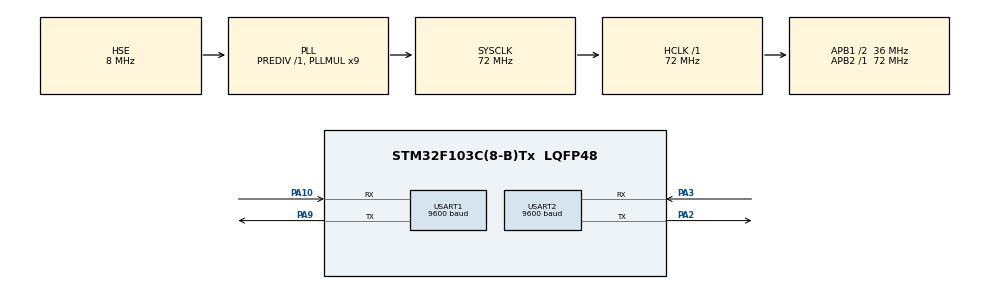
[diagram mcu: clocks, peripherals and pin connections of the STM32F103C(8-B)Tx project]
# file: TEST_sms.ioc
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Mcu.Family=STM32F1
Mcu.Name=STM32F103C(8-B)Tx
Mcu.Package=LQFP48
NVIC.PriorityGroup=NVIC_PRIORITYGROUP_4
NVIC.USART1_IRQn=true\:0\:0\:false\:false\:true\:true\:true
PA10.Mode=Asynchronous
PA10.Signal=USART1_RX
PA13.Mode=Trace_Asynchronous_SW
PA13.Signal=SYS_JTMS-SWDIO
PA14.Mode=Trace_Asynchronous_SW
PA14.Signal=SYS_JTCK-SWCLK
PA2.Mode=Asynchronous
PA2.Signal=USART2_TX
PA3.Mode=Asynchronous
PA3.Signal=USART2_RX
PA9.Mode=Asynchronous
PA9.Signal=USART1_TX
PB3.Mode=Trace_Asynchronous_SW
PB3.Signal=SYS_JTDO-TRACESWO
PC14-OSC32_IN.Mode=LSE-External-Oscillator
PC14-OSC32_IN.Signal=RCC_OSC32_IN
PC15-OSC32_OUT.Mode=LSE-External-Oscillator
PC15-OSC32_OUT.Signal=RCC_OSC32_OUT
PD0-OSC_IN.Mode=HSE-External-Oscillator
PD0-OSC_IN.Signal=RCC_OSC_IN
PD1-OSC_OUT.Mode=HSE-External-Oscillator
PD1-OSC_OUT.Signal=RCC_OSC_OUT
ProjectManager.HeapSize=0x200
ProjectManager.StackSize=0x400
ProjectManager.TargetToolchain=STM32CubeIDE
RCC.AHBFreq_Value=72000000
RCC.APB1CLKDivider=RCC_HCLK_DIV2
RCC.APB1Freq_Value=36000000
RCC.APB1TimFreq_Value=72000000
RCC.APB2Freq_Value=72000000
RCC.APB2TimFreq_Value=72000000
RCC.HCLKFreq_Value=72000000
RCC.PLLMUL=RCC_PLL_MUL9
RCC.PLLSourceVirtual=RCC_PLLSOURCE_HSE
RCC.SYSCLKFreq_VALUE=72000000
RCC.SYSCLKSource=RCC_SYSCLKSOURCE_PLLCLK
RCC.USBFreq_Value=72000000
USART1.BaudRate=9600
USART1.VirtualMode=VM_ASYNC
USART2.BaudRate=9600
USART2.VirtualMode=VM_ASYNC
board=custom

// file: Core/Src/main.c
/* USER CODE BEGIN Header */
/**
  ******************************************************************************
  * @file           : main.c
  * @brief          : Main program body
  ******************************************************************************
  * @attention
  *
  * Copyright (c) 2022 STMicroelectronics.
  * All rights reserved.
  *
  * This software is licensed under terms that can be found in the LICENSE file
  * in the root directory of this software component.
  * If no LICENSE file comes with this software, it is provided AS-IS.
  *
  ******************************************************************************
  */
/* USER CODE END Header */
#include "main.h"

/* USER CODE BEGIN Includes */
#include <string.h>
#include <stdio.h>
/* USER CODE END Includes */

UART_HandleTypeDef huart1;
UART_HandleTypeDef huart2;

void SystemClock_Config(void);
static void MX_GPIO_Init(void);
static void MX_USART1_UART_Init(void);
static void MX_USART2_UART_Init(void);
/* USER CODE BEGIN PFP */
/*-----------------------For printf------------------------*/
int _write(int file, char *ptr, int len) {
	int i;
	HAL_UART_Transmit(&huart2, (uint8_t*) ptr, len, 50);
	for (i = 0; i < len; i++) {
		ITM_SendChar(*ptr++);
	}
	return len;
}
/* USER CODE END PFP */

/* USER CODE BEGIN 0 */
uint8_t buf[30] = {0};
char mobile[] = "+7XXXXXXXXXXXX";  // Enter Your Mobile Number here
/* USER CODE END 0 */

int main(void)
{
  /* USER CODE BEGIN 1 */
	char msg[30];
	char cmd[50];
  /* USER CODE END 1 */

  /* MCU Configuration--------------------------------------------------------*/

  /* Reset of all peripherals, Initializes the Flash interface and the Systick. */
  HAL_Init();

  /* Configure the system clock */
  SystemClock_Config();

  /* Initialize all configured peripherals */
  MX_GPIO_Init();
  MX_USART1_UART_Init();
  MX_USART2_UART_Init();
  /* USER CODE BEGIN 2 */

	sprintf(msg,"SMS with GSM Module\r\n");
	HAL_UART_Transmit(&huart2,(uint8_t *)msg,strlen(msg),1000);
	sprintf(msg,"Checking Module...\r\n");
	HAL_UART_Transmit(&huart2,(uint8_t *)msg,strlen(msg),1000);
	uint8_t flag=1;

	while(flag){
		sprintf(cmd,"AT\r\n");
		HAL_UART_Transmit(&huart1,(uint8_t *)cmd,strlen(cmd),1000);
		HAL_UART_Receive_IT (&huart1, buf, 30);
		HAL_Delay(1000);

		if(strstr((char *)buf,"OK")){
			sprintf(msg,"Module Connected\r\n");
			HAL_UART_Transmit(&huart2,(uint8_t *)msg,strlen(msg),1000);
			flag=0;
		}
		HAL_Delay(1000);
		HAL_UART_Transmit(&huart2,(uint8_t *)buf,sizeof(buf),1000);
		memset(buf,0,sizeof(buf));
	}

	sprintf(msg,"Sending Message\r\n");
	HAL_UART_Transmit(&huart2,(uint8_t *)msg,strlen(msg),1000);
	sprintf(cmd,"AT+CMGF=1\r\n");
	HAL_UART_Transmit(&huart1,(uint8_t *)cmd,strlen(cmd),1000);
	HAL_UART_Receive_IT (&huart1, buf, 30);
	HAL_Delay(1000);
	HAL_UART_Transmit(&huart2,(uint8_t *)buf,sizeof(buf),1000);
	memset(buf,0,sizeof(buf));

	sprintf(cmd,"AT+CMGS=\"%s\"\r\n",mobile);
	HAL_UART_Transmit(&huart1,(uint8_t *)cmd,strlen(cmd),1000);
	HAL_Delay(100);
	sprintf(cmd,"Hello from GSM%c",0x1a);
	HAL_UART_Transmit(&huart1,(uint8_t *)cmd,strlen(cmd),1000);
	//HAL_UART_Transmit(&huart1,(uint8_t *)((char)(0x1a)),1,1000);
	HAL_UART_Receive_IT (&huart1, buf, 30);
	HAL_Delay(5000);

	HAL_UART_Transmit(&huart2,(uint8_t *)buf,sizeof(buf),1000);
	sprintf(msg,"Message Sent\r\n");
	HAL_UART_Transmit(&huart2,(uint8_t *)msg,strlen(msg),1000);
  /* USER CODE END 2 */

  /* Infinite loop */
  while (1)
  {

  }
}

void SystemClock_Config(void)
{
  RCC_OscInitTypeDef RCC_OscInitStruct = {0};
  RCC_ClkInitTypeDef RCC_ClkInitStruct = {0};

  /** Initializes the RCC Oscillators according to the specified parameters
  * in the RCC_OscInitTypeDef structure.
  */
  RCC_OscInitStruct.OscillatorType = RCC_OSCILLATORTYPE_HSE;
  RCC_OscInitStruct.HSEState = RCC_HSE_ON;
  RCC_OscInitStruct.HSEPredivValue = RCC_HSE_PREDIV_DIV1;
  RCC_OscInitStruct.HSIState = RCC_HSI_ON;
  RCC_OscInitStruct.PLL.PLLState = RCC_PLL_ON;
  RCC_OscInitStruct.PLL.PLLSource = RCC_PLLSOURCE_HSE;
  RCC_OscInitStruct.PLL.PLLMUL = RCC_PLL_MUL9;
  if (HAL_RCC_OscConfig(&RCC_OscInitStruct) != HAL_OK)
  {
    Error_Handler();
  }
  /** Initializes the CPU, AHB and APB buses clocks
  */
  RCC_ClkInitStruct.ClockType = RCC_CLOCKTYPE_HCLK|RCC_CLOCKTYPE_SYSCLK
                              |RCC_CLOCKTYPE_PCLK1|RCC_CLOCKTYPE_PCLK2;
  RCC_ClkInitStruct.SYSCLKSource = RCC_SYSCLKSOURCE_PLLCLK;
  RCC_ClkInitStruct.AHBCLKDivider = RCC_SYSCLK_DIV1;
  RCC_ClkInitStruct.APB1CLKDivider = RCC_HCLK_DIV2;
  RCC_ClkInitStruct.APB2CLKDivider = RCC_HCLK_DIV1;

  if (HAL_RCC_ClockConfig(&RCC_ClkInitStruct, FLASH_LATENCY_2) != HAL_OK)
  {
    Error_Handler();
  }
}

static void MX_USART1_UART_Init(void)
{

  huart1.Instance = USART1;
  huart1.Init.BaudRate = 9600;
  huart1.Init.WordLength = UART_WORDLENGTH_8B;
  huart1.Init.StopBits = UART_STOPBITS_1;
  huart1.Init.Parity = UART_PARITY_NONE;
  huart1.Init.Mode = UART_MODE_TX_RX;
  huart1.Init.HwFlowCtl = UART_HWCONTROL_NONE;
  huart1.Init.OverSampling = UART_OVERSAMPLING_16;
  if (HAL_UART_Init(&huart1) != HAL_OK)
  {
    Error_Handler();
  }

}

static void MX_USART2_UART_Init(void)
{

  huart2.Instance = USART2;
  huart2.Init.BaudRate = 9600;
  huart2.Init.WordLength = UART_WORDLENGTH_8B;
  huart2.Init.StopBits = UART_STOPBITS_1;
  huart2.Init.Parity = UART_PARITY_NONE;
  huart2.Init.Mode = UART_MODE_TX_RX;
  huart2.Init.HwFlowCtl = UART_HWCONTROL_NONE;
  huart2.Init.OverSampling = UART_OVERSAMPLING_16;
  if (HAL_UART_Init(&huart2) != HAL_OK)
  {
    Error_Handler();
  }

}

static void MX_GPIO_Init(void)
{

  /* GPIO Ports Clock Enable */
  __HAL_RCC_GPIOC_CLK_ENABLE();
  __HAL_RCC_GPIOD_CLK_ENABLE();
  __HAL_RCC_GPIOA_CLK_ENABLE();
  __HAL_RCC_GPIOB_CLK_ENABLE();

}

void Error_Handler(void)
{
  __disable_irq();
  while (1)
  {
  }
}
